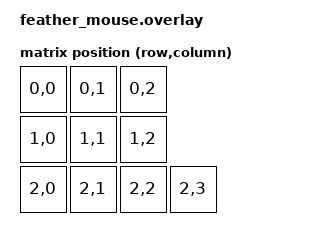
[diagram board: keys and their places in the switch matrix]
/*
 * Iskra shield overlay (nice_nano_v2, Pro Micro footprint)
 */

#include <dt-bindings/zmk/matrix_transform.h>
#include <physical_layouts.dtsi>

/ {
	chosen {
		zmk,kscan = &kscan0;
		zmk,physical-layout = &iskra_layout;
	};

	iskra_transform: iskra_transform {
		compatible = "zmk,matrix-transform";
		columns = <4>;
		rows = <3>;
		/* Only 10 keys populated: 3x4 matrix with two empty positions (row 0 col 3, row 1 col 3) */
		map = <
			RC(0,0) RC(0,1) RC(0,2)
			RC(1,0) RC(1,1) RC(1,2)
			RC(2,0) RC(2,1) RC(2,2) RC(2,3)
		>;
	};

	iskra_layout: iskra_layout {
		compatible = "zmk,physical-layout";
		display-name = "Default Layout";
		transform = <&iskra_transform>;
		kscan = <&kscan0>;
		/* 10 keys arranged as:
		 * 1 2 3 _
		 * 4 5 6 _
		 * 7 8 9 0
		 */
		keys = <&key_physical_attrs 100 100    0    0 0 0 0>
		     , <&key_physical_attrs 100 100  100    0 0 0 1>
		     , <&key_physical_attrs 100 100  200    0 0 0 2>
		     , <&key_physical_attrs 100 100    0  100 0 1 0>
		     , <&key_physical_attrs 100 100  100  100 0 1 1>
		     , <&key_physical_attrs 100 100  200  100 0 1 2>
		     , <&key_physical_attrs 100 100    0  200 0 2 0>
		     , <&key_physical_attrs 100 100  100  200 0 2 1>
		     , <&key_physical_attrs 100 100  200  200 0 2 2>
		     , <&key_physical_attrs 100 100  300  200 0 2 3>;
	};
};


